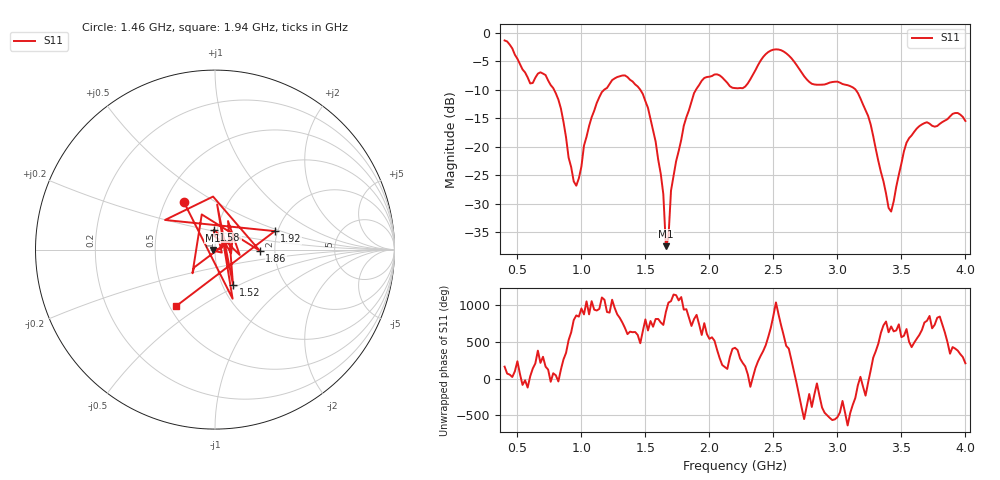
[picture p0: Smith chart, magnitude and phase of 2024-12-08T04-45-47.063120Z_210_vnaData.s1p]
!Created with skrf (http://scikit-rf.org).
# Hz S RI R 50.0
!freq ReS11 ImS11
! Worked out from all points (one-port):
!   181 points, 400 MHz to 4 GHz, reference 50 ohm
!   lowest |S11| = -37.4 dB at 1.66 GHz (marker M1), VSWR 1.03, Z = 48.7 - j0.218 ohm
!   |S11| at or under -10 dB: 786.6 MHz to 1.178 GHz (390.9 MHz wide, 39.8 % of centre); 1.461 GHz to 1.895 GHz (434.2 MHz wide, 25.9 % of centre); 3.143 GHz to end of sweep
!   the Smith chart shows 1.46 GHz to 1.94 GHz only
!   S11 on the Smith chart (normalised r, x): 1.46 GHz: 0.62, +0.37; 1.52 GHz: 1.12, -0.46; 1.58 GHz: 0.96, +0.22; 1.86 GHz: 1.66, -0.02; 1.92 GHz: 1.93, +0.45; 1.94 GHz: 0.54, -0.40
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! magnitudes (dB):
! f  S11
! 400 MHz  -1.3
! 600 MHz  -8.9
! 720 MHz  -7.4
! 860 MHz  -15.6
! 960 MHz  -26.8
! 1.12 GHz  -12.3
! 1.3 GHz  -7.6
! 1.46 GHz  -10.0
! 1.52 GHz  -13.2
! 1.58 GHz  -19.1
! 1.64 GHz  -28.3
! 1.66 GHz  -37.4
! 1.68 GHz  -35.9
! 1.7 GHz  -27.7
! 1.76 GHz  -20.7
! 1.86 GHz  -12.1
! 1.92 GHz  -9.1
! 1.94 GHz  -8.4
! 2.2 GHz  -9.7
! 2.48 GHz  -3.1
! 2.66 GHz  -5.0
! 2.8 GHz  -8.9
! 3.1 GHz  -9.4
! 3.24 GHz  -14.6
! 3.42 GHz  -31.3
! 3.56 GHz  -18.5
! 3.92 GHz  -14.1
! 4 GHz  -15.5
